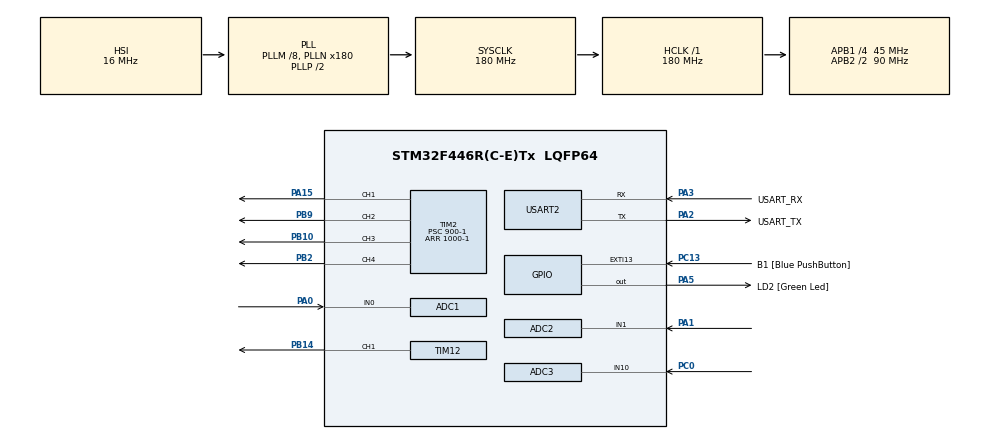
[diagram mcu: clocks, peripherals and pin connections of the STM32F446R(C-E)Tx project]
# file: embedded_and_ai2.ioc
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ADC1.Channel-0\#ChannelRegularConversion=ADC_CHANNEL_0
ADC1.ContinuousConvMode=ENABLE
ADC1.NbrOfConversionFlag=1
ADC1.Rank-0\#ChannelRegularConversion=1
ADC1.SamplingTime-0\#ChannelRegularConversion=ADC_SAMPLETIME_3CYCLES
ADC1.master=1
ADC2.Channel-0\#ChannelRegularConversion=ADC_CHANNEL_1
ADC2.ContinuousConvMode=ENABLE
ADC2.NbrOfConversionFlag=1
ADC2.Rank-0\#ChannelRegularConversion=1
ADC2.SamplingTime-0\#ChannelRegularConversion=ADC_SAMPLETIME_3CYCLES
ADC3.Channel-0\#ChannelRegularConversion=ADC_CHANNEL_10
ADC3.ContinuousConvMode=ENABLE
ADC3.NbrOfConversionFlag=1
ADC3.Rank-0\#ChannelRegularConversion=1
ADC3.SamplingTime-0\#ChannelRegularConversion=ADC_SAMPLETIME_3CYCLES
Mcu.Family=STM32F4
Mcu.Name=STM32F446R(C-E)Tx
Mcu.Package=LQFP64
NVIC.ADC_IRQn=true\:0\:0\:false\:false\:true\:true\:true\:true
NVIC.PriorityGroup=NVIC_PRIORITYGROUP_0
NVIC.TIM1_TRG_COM_TIM11_IRQn=true\:0\:0\:false\:false\:true\:true\:true\:true
NVIC.TIM1_UP_TIM10_IRQn=true\:0\:0\:false\:false\:true\:true\:true\:true
NVIC.TIM2_IRQn=true\:0\:0\:false\:false\:true\:true\:true\:true
NVIC.TIM8_BRK_TIM12_IRQn=true\:0\:0\:false\:false\:true\:true\:true\:true
NVIC.TIM8_TRG_COM_TIM14_IRQn=true\:0\:0\:false\:false\:true\:true\:true\:true
NVIC.TIM8_UP_TIM13_IRQn=true\:0\:0\:false\:false\:true\:true\:true\:true
PA0-WKUP.Signal=ADCx_IN0
PA1.Signal=ADCx_IN1
PA13.GPIO_Label=TMS
PA13.Mode=Serial_Wire
PA13.Signal=SYS_JTMS-SWDIO
PA14.GPIO_Label=TCK
PA14.Mode=Serial_Wire
PA14.Signal=SYS_JTCK-SWCLK
PA15.Signal=S_TIM2_CH1_ETR
PA2.GPIO_Label=USART_TX
PA2.Mode=Asynchronous
PA2.Signal=USART2_TX
PA3.GPIO_Label=USART_RX
PA3.Mode=Asynchronous
PA3.Signal=USART2_RX
PA5.GPIO_Label=LD2 [Green Led]
PA5.Signal=GPIO_Output
PB10.Signal=S_TIM2_CH3
PB14.Signal=S_TIM12_CH1
PB2.Signal=S_TIM2_CH4
PB3.GPIO_Label=SWO
PB3.Signal=SYS_JTDO-SWO
PB9.Signal=S_TIM2_CH2
PC0.Signal=ADCx_IN10
PC13.GPIO_Label=B1 [Blue PushButton]
PC13.GPIO_ModeDefaultEXTI=GPIO_MODE_IT_FALLING
PC13.Signal=GPXTI13
PC14-OSC32_IN.Mode=LSE-External-Oscillator
PC14-OSC32_IN.Signal=RCC_OSC32_IN
PC15-OSC32_OUT.Mode=LSE-External-Oscillator
PC15-OSC32_OUT.Signal=RCC_OSC32_OUT
PH0-OSC_IN.Mode=HSE-External-Oscillator
PH0-OSC_IN.Signal=RCC_OSC_IN
PH1-OSC_OUT.Mode=HSE-External-Oscillator
PH1-OSC_OUT.Signal=RCC_OSC_OUT
ProjectManager.HeapSize=0x800
ProjectManager.StackSize=0x800
ProjectManager.TargetToolchain=STM32CubeIDE
RCC.48MHZClocksFreq_Value=84000000
RCC.AHBFreq_Value=180000000
RCC.APB1CLKDivider=RCC_HCLK_DIV4
RCC.APB1Freq_Value=45000000
RCC.APB1TimFreq_Value=90000000
RCC.APB2CLKDivider=RCC_HCLK_DIV2
RCC.APB2Freq_Value=90000000
RCC.APB2TimFreq_Value=180000000
RCC.CortexFreq_Value=180000000
RCC.FLatency-AdvancedSettings=FLASH_LATENCY_5
RCC.HCLKFreq_Value=180000000
RCC.HSE_VALUE=8000000
RCC.HSI_VALUE=16000000
RCC.PLLM=8
RCC.PLLN=180
RCC.PLLP=2
RCC.SYSCLKFreq_VALUE=180000000
RCC.SYSCLKSource=RCC_SYSCLKSOURCE_PLLCLK
RCC.USBFreq_Value=180000000
RCC.VCOOutputFreq_Value=360000000
SH.ADCx_IN0.0=ADC1_IN0,IN0
SH.ADCx_IN1.0=ADC2_IN1,IN1
SH.ADCx_IN10.0=ADC3_IN10,IN10
SH.S_TIM12_CH1.0=TIM12_CH1,PWM Generation1 CH1
SH.S_TIM2_CH1_ETR.0=TIM2_CH1,PWM Generation1 CH1
SH.S_TIM2_CH2.0=TIM2_CH2,PWM Generation2 CH2
SH.S_TIM2_CH3.0=TIM2_CH3,PWM Generation3 CH3
SH.S_TIM2_CH4.0=TIM2_CH4,PWM Generation4 CH4
STMicroelectronics.X-CUBE-AI.8.0.0.ActivationBufferSizeList=1624
STMicroelectronics.X-CUBE-AI.8.0.0.ActivationBuffers=pool0
STMicroelectronics.X-CUBE-AI.8.0.0.ActivationNames=pool0
STMicroelectronics.X-CUBE-AI.8.0.0.ActivationSizes=AI_NETWORK_DATA_ACTIVATION_1_SIZE
STMicroelectronics.X-CUBE-AI.8.0.0.HeapSize=0x800
STMicroelectronics.X-CUBE-AI.8.0.0.InternalRamActivationBufferMaxSize=AI_NETWORK_DATA_ACTIVATIONS_SIZE
STMicroelectronics.X-CUBE-AI.8.0.0.LatestDirectoryUsed-67a6a18f9e4a9236f3713ee51d6df6513200c0ff8d3d3a2d04c768240359d7e5=F\:\\Graduation Project\\Model
STMicroelectronics.X-CUBE-AI.8.0.0.MaximumNumberOfInputLayer=1
STMicroelectronics.X-CUBE-AI.8.0.0.MaximumNumberOfOutputLayer=1
STMicroelectronics.X-CUBE-AI.8.0.0.MaximumSizeOfInputLayer=1
STMicroelectronics.X-CUBE-AI.8.0.0.MaximumSizeOfOutputLayer=1
STMicroelectronics.X-CUBE-AI.8.0.0.ModelActualCompression-67a6a18f9e4a9236f3713ee51d6df6513200c0ff8d3d3a2d04c768240359d7e5=0.0
STMicroelectronics.X-CUBE-AI.8.0.0.ModelCompression-67a6a18f9e4a9236f3713ee51d6df6513200c0ff8d3d3a2d04c768240359d7e5=None
STMicroelectronics.X-CUBE-AI.8.0.0.ModelFlashOccupation-67a6a18f9e4a9236f3713ee51d6df6513200c0ff8d3d3a2d04c768240359d7e5=43524
STMicroelectronics.X-CUBE-AI.8.0.0.ModelHashList=67a6a18f9e4a9236f3713ee51d6df6513200c0ff8d3d3a2d04c768240359d7e5
STMicroelectronics.X-CUBE-AI.8.0.0.ModelKind-67a6a18f9e4a9236f3713ee51d6df6513200c0ff8d3d3a2d04c768240359d7e5=KERAS
STMicroelectronics.X-CUBE-AI.8.0.0.ModelMacc-67a6a18f9e4a9236f3713ee51d6df6513200c0ff8d3d3a2d04c768240359d7e5=3611
STMicroelectronics.X-CUBE-AI.8.0.0.ModelName-67a6a18f9e4a9236f3713ee51d6df6513200c0ff8d3d3a2d04c768240359d7e5=network
STMicroelectronics.X-CUBE-AI.8.0.0.ModelNameList=network
STMicroelectronics.X-CUBE-AI.8.0.0.ModelRamOccupation-67a6a18f9e4a9236f3713ee51d6df6513200c0ff8d3d3a2d04c768240359d7e5=1624
STMicroelectronics.X-CUBE-AI.8.0.0.ModelStructureFile-67a6a18f9e4a9236f3713ee51d6df6513200c0ff8d3d3a2d04c768240359d7e5=F\:\\Graduation Project\\Model\\model_5.h5
STMicroelectronics.X-CUBE-AI.8.0.0.ModelType-67a6a18f9e4a9236f3713ee51d6df6513200c0ff8d3d3a2d04c768240359d7e5=Saved model
STMicroelectronics.X-CUBE-AI.8.0.0.ReadyForCodeGeneration=true
STMicroelectronics.X-CUBE-AI.8.0.0.StackSize=0x800
STMicroelectronics.X-CUBE-AI.8.0.0.ValidationInputFile-67a6a18f9e4a9236f3713ee51d6df6513200c0ff8d3d3a2d04c768240359d7e5=F\:\\Graduation Project\\Model\\training_data.csv
STMicroelectronics.X-CUBE-AI.8.0.0.ValidationInputFileHistory-67a6a18f9e4a9236f3713ee51d6df6513200c0ff8d3d3a2d04c768240359d7e5=F\:\\Graduation Project\\Model\\training_data.csv
STMicroelectronics.X-CUBE-AI.8.0.0.ValidationOutputFile-67a6a18f9e4a9236f3713ee51d6df6513200c0ff8d3d3a2d04c768240359d7e5=F\:\\Graduation Project\\Model\\training_labels.csv
STMicroelectronics.X-CUBE-AI.8.0.0.ValidationOutputFileHistory-67a6a18f9e4a9236f3713ee51d6df6513200c0ff8d3d3a2d04c768240359d7e5=F\:\\Graduation Project\\Model\\training_labels.csv
STMicroelectronics.X-CUBE-AI.8.0.0.WorkingBufferStartAddrList=0xFFFFFFFF
STMicroelectronics.X-CUBE-AI.8.0.0.XAaCUBEAaAICcArtificialOoIntelligenceJjCore=true
STMicroelectronics.X-CUBE-AI.8.0.0.copyWeightToRam=false
STMicroelectronics.X-CUBE-AI.8.0.0.customLayerConfigEnabled=false
STMicroelectronics.X-CUBE-AI.8.0.0.useInputAllocation=true
STMicroelectronics.X-CUBE-AI.8.0.0.useOutputAllocation=true
TIM12.Channel-PWM\ Generation1\ CH1=TIM_CHANNEL_1
TIM12.Period=1000-1
TIM12.Prescaler=900-1
TIM2.Channel-PWM\ Generation1\ CH1=TIM_CHANNEL_1
TIM2.Channel-PWM\ Generation2\ CH2=TIM_CHANNEL_2
TIM2.Channel-PWM\ Generation3\ CH3=TIM_CHANNEL_3
TIM2.Channel-PWM\ Generation4\ CH4=TIM_CHANNEL_4
TIM2.Period=1000-1
TIM2.Prescaler=900-1
USART2.VirtualMode=VM_ASYNC
VP_CRC_VS_CRC.Mode=CRC_Activate
VP_STMicroelectronics.X-CUBE-AI_VS_ArtificialOoIntelligenceJjXAaCUBEAaAI_8.0.0.Mode=ArtificialOoIntelligenceJjXAaCUBEAaAI
VP_TIM10_VS_ClockSourceINT.Mode=Enable_Timer
VP_TIM11_VS_ClockSourceINT.Mode=Enable_Timer
VP_TIM12_VS_ClockSourceINT.Mode=Internal
VP_TIM13_VS_ClockSourceINT.Mode=Enable_Timer
VP_TIM14_VS_ClockSourceINT.Mode=Enable_Timer
board=NUCLEO-F446RE

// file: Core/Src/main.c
/* USER CODE BEGIN Header */
/**
 ******************************************************************************
 * @file           : main.c
 * @brief          : Main program body
 ******************************************************************************
 * @attention
 *
 * Copyright (c) 2023 STMicroelectronics.
 * All rights reserved.
 *
 * This software is licensed under terms that can be found in the LICENSE file
 * in the root directory of this software component.
 * If no LICENSE file comes with this software, it is provided AS-IS.
 *
 ******************************************************************************
 */
/* USER CODE END Header */
#include "main.h"
#include "adc.h"
#include "crc.h"
#include "tim.h"
#include "usart.h"
#include "gpio.h"

#include "PWM.h"
#include "MAPPING.h"
#include "servo.h"
#include "sensor_readings.h"
#include "app_x-cube-ai.h"

#include <stdio.h>

#include "network.h"
#include "network_data.h"
/* USER CODE BEGIN Includes */
#define fest_angle 140
#define rest_angle 40
/* USER CODE END Includes */
uint32_t sensor1;
uint32_t sensor2;
uint32_t sensor3;

void SystemClock_Config(void);

/* USER CODE BEGIN 0 */
/************************	Global Variables	************************/
static ai_handle network = AI_HANDLE_NULL;

AI_ALIGNED(32)
static ai_u8 activations[AI_NETWORK_DATA_ACTIVATIONS_SIZE];

AI_ALIGNED(32)
static ai_float in_data[AI_NETWORK_IN_1_SIZE];

AI_ALIGNED(32)
static ai_float out_data[AI_NETWORK_OUT_1_SIZE];

static ai_buffer *ai_input;
static ai_buffer *ai_output;

int Model_Init(void)
{
	ai_error err;
	const ai_handle acts[] = { activations };
	err = ai_network_create_and_init(&network, acts, NULL);

	ai_input = ai_network_inputs_get(network, NULL);
	ai_output = ai_network_outputs_get(network, NULL);

	return 0;
}

int Model_Run(const void *in_data, void *out_data)
{
	ai_i32 n_batch;
	ai_error err;

	/* 1 - Update IO handlers with the data payload */
	ai_input[0].data = AI_HANDLE_PTR(in_data);
	ai_output[0].data = AI_HANDLE_PTR(out_data);

	/* 2 - Perform the inference */
	n_batch = ai_network_run(network, &ai_input[0], &ai_output[0]);
	if (n_batch != 1) {
		err = ai_network_get_error(network);
	};

	return 0;
}
/* USER CODE END 0 */

int main(void)
{

	/* MCU Configuration--------------------------------------------------------*/

	/* Reset of all peripherals, Initializes the Flash interface and the Systick. */
	HAL_Init();

	/* USER CODE BEGIN Init */
	Model_Init();

	/* USER CODE END Init */

	/* Configure the system clock */
	SystemClock_Config();

	/* Initialize all configured peripherals */
	MX_GPIO_Init();
	MX_USART2_UART_Init();
	MX_ADC1_Init();
	MX_ADC2_Init();
	MX_ADC3_Init();
	MX_CRC_Init();
	MX_TIM2_Init();
	MX_TIM10_Init();
	MX_TIM11_Init();
	MX_TIM12_Init();
	MX_TIM13_Init();
	MX_TIM14_Init();
	/* USER CODE BEGIN 2 */
	/* Initialize PWM Timers*/
	HAL_TIM_PWM_Start(&htim2, TIM_CHANNEL_1);
	HAL_TIM_PWM_Start(&htim2, TIM_CHANNEL_2);
	HAL_TIM_PWM_Start(&htim2, TIM_CHANNEL_3);
	HAL_TIM_PWM_Start(&htim2, TIM_CHANNEL_4);
	HAL_TIM_PWM_Start(&htim12, TIM_CHANNEL_1);

	/*Movement 1 Data*/
	in_data[0] = -0.48808113;
	in_data[1] = -0.55175108;
	in_data[2] = -0.4681329;
	in_data[3] = -1.32115892;
	in_data[4] = -0.55970546;
	in_data[5] = -0.22794302;

	Model_Run(in_data, out_data);

	/* USER CODE BEGIN 2 */
	SERVO_t Servo1;
	Servo1.htim = htim2;
	Servo1.Copy_int32Channel = TIM_CHANNEL_4;

	SERVO_t Servo2;
	Servo2.htim = htim2;
	Servo2.Copy_int32Channel = TIM_CHANNEL_3;

	SERVO_t Servo3;
	Servo3.htim = htim2;
	Servo3.Copy_int32Channel = TIM_CHANNEL_2;

	SERVO_t Servo4;
	Servo4.htim = htim2;
	Servo4.Copy_int32Channel = TIM_CHANNEL_1;

	SERVO_t Servo5;
	Servo5.htim = htim12;
	Servo5.Copy_int32Channel = TIM_CHANNEL_1;
	Servo_void_SetAngle(Servo5, fest_angle);
	/* USER CODE END 2 */

	/* Infinite loop */
	/* USER CODE BEGIN WHILE */
	while (1)
	{
		//		sensor1 = analogRead(&hadc1);
		//		sensor2 = analogRead(&hadc1);
		sensor3 = analogRead(&hadc1);
		//		serial_print(sensor1);
		//		serial_print_str(",");
		//		serial_print(sensor2);
		//		serial_print_str(",");
		serial_println(sensor3);
		HAL_Delay(1);
		/* USER CODE END WHILE */

	}
}

void SystemClock_Config(void)
{
	RCC_OscInitTypeDef RCC_OscInitStruct = {0};
	RCC_ClkInitTypeDef RCC_ClkInitStruct = {0};

	/** Configure the main internal regulator output voltage
	 */
	__HAL_RCC_PWR_CLK_ENABLE();
	__HAL_PWR_VOLTAGESCALING_CONFIG(PWR_REGULATOR_VOLTAGE_SCALE1);

	/** Initializes the RCC Oscillators according to the specified parameters
	 * in the RCC_OscInitTypeDef structure.
	 */
	RCC_OscInitStruct.OscillatorType = RCC_OSCILLATORTYPE_HSI;
	RCC_OscInitStruct.HSIState = RCC_HSI_ON;
	RCC_OscInitStruct.HSICalibrationValue = RCC_HSICALIBRATION_DEFAULT;
	RCC_OscInitStruct.PLL.PLLState = RCC_PLL_ON;
	RCC_OscInitStruct.PLL.PLLSource = RCC_PLLSOURCE_HSI;
	RCC_OscInitStruct.PLL.PLLM = 8;
	RCC_OscInitStruct.PLL.PLLN = 180;
	RCC_OscInitStruct.PLL.PLLP = 2;
	RCC_OscInitStruct.PLL.PLLQ = 2;
	RCC_OscInitStruct.PLL.PLLR = 2;
	if (HAL_RCC_OscConfig(&RCC_OscInitStruct) != HAL_OK)
	{
		Error_Handler();
	}

	/** Activate the Over-Drive mode
	 */
	if (HAL_PWREx_EnableOverDrive() != HAL_OK)
	{
		Error_Handler();
	}

	/** Initializes the CPU, AHB and APB buses clocks
	 */
	RCC_ClkInitStruct.ClockType = RCC_CLOCKTYPE_HCLK|RCC_CLOCKTYPE_SYSCLK
			|RCC_CLOCKTYPE_PCLK1|RCC_CLOCKTYPE_PCLK2;
	RCC_ClkInitStruct.SYSCLKSource = RCC_SYSCLKSOURCE_PLLCLK;
	RCC_ClkInitStruct.AHBCLKDivider = RCC_SYSCLK_DIV1;
	RCC_ClkInitStruct.APB1CLKDivider = RCC_HCLK_DIV4;
	RCC_ClkInitStruct.APB2CLKDivider = RCC_HCLK_DIV2;

	if (HAL_RCC_ClockConfig(&RCC_ClkInitStruct, FLASH_LATENCY_5) != HAL_OK)
	{
		Error_Handler();
	}
}

void Error_Handler(void)
{
	__disable_irq();
	while (1)
	{
	}
}
